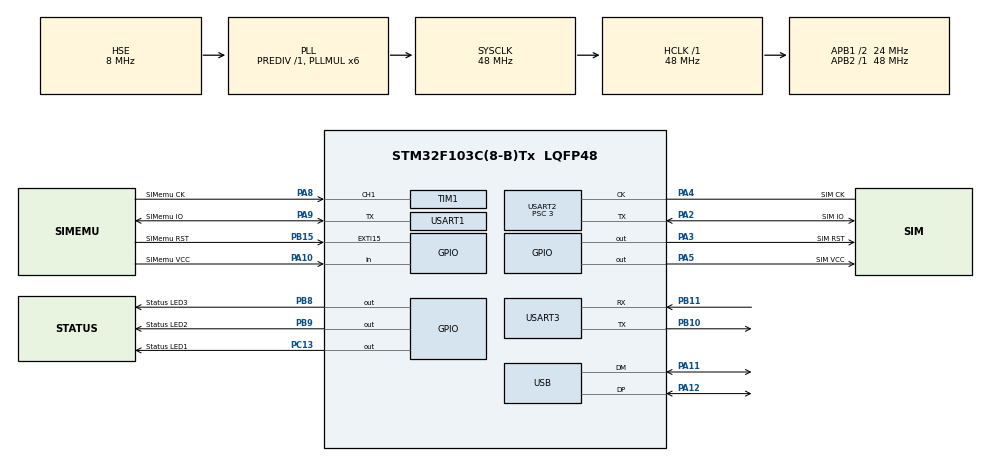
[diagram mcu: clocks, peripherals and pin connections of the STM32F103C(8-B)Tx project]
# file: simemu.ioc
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Mcu.Family=STM32F1
USB_DEVICE.CLASS_NAME_FS=CDC
PB10.Mode=Asynchronous
PA11.Mode=Device
PB11.Signal=USART3_RX
PB13.Signal=USART3_CTS
PB15.Signal=GPXTI15
RCC.SYSCLKSource=RCC_SYSCLKSOURCE_PLLCLK
ProjectManager.StackSize=0x400
PD1-OSC_OUT.Signal=RCC_OSC_OUT
PA12.Signal=USB_DP
NVIC.USB_HP_CAN1_TX_IRQn=true\:3\:0\:true\:false\:true\:true\:true
TIM1.Prescaler=1
PA4.Mode=SmartCard_With_Clock
RCC.HCLKFreq_Value=48000000
RCC.APB2TimFreq_Value=48000000
RCC.AHBFreq_Value=48000000
NVIC.EXTI15_10_IRQn=true\:15\:0\:true\:false\:true\:true\:true
PB3.Mode=JTAG_5_pins
PA15.Mode=JTAG_5_pins
RCC.PLLMUL=RCC_PLL_MUL6
VP_TIM1_VS_ControllerModeClock.Mode=Clock Mode
PB4.Mode=JTAG_5_pins
PC14-OSC32_IN.Mode=LSE-External-Oscillator
PA14.Mode=JTAG_5_pins
PA10.GPIO_Label=SIMemu VCC
PA8.Signal=S_TIM1_CH1
USART2.Prescaler=3
Mcu.Package=LQFP48
PB9.Signal=GPIO_Output
USART2.VirtualMode=VM_SMARTCARD
PA2.GPIO_Label=SIM IO
PA10.Signal=GPIO_Input
PA15.Signal=SYS_JTDI
RCC.APB1TimFreq_Value=48000000
TIM1.Period=0xffff
NVIC.USART1_IRQn=true\:8\:0\:true\:false\:true\:true\:true
PA4.GPIO_Label=SIM CK
PB4.Signal=SYS_NJTRST
PA3.Signal=GPIO_Output
PC15-OSC32_OUT.Mode=LSE-External-Oscillator
USART2.VirtualClockMode=VM_SMARTCARD
PD1-OSC_OUT.Mode=HSE-External-Oscillator
PB9.GPIO_Label=Status LED2
USB_DEVICE.VirtualModeFS=Cdc_FS
PA9.GPIO_Label=SIMemu IO
PC13-TAMPER-RTC.Signal=GPIO_Output
PD0-OSC_IN.Signal=RCC_OSC_IN
RCC.APB1CLKDivider=RCC_HCLK_DIV2
PC14-OSC32_IN.Signal=RCC_OSC32_IN
NVIC.USART2_IRQn=true\:12\:0\:true\:false\:true\:true\:true
TIM1.AutoReloadPreload=TIM_AUTORELOAD_PRELOAD_DISABLE
PA13.Signal=SYS_JTMS-SWDIO
PB8.GPIO_Label=Status LED3
PA9.Mode=SmartCard
PA8.GPIO_Label=SIMemu CK
SH.S_TIM1_CH1.0=TIM1_CH1,TriggerSource_TI1FP1
PB11.Mode=Asynchronous
ProjectManager.TargetToolchain=Makefile
VP_USB_DEVICE_VS_USB_DEVICE_CDC_FS.Mode=CDC_FS
PA9.Signal=USART1_TX
RCC.USBFreq_Value=48000000
PC15-OSC32_OUT.Signal=RCC_OSC32_OUT
PD0-OSC_IN.Mode=HSE-External-Oscillator
PB10.Signal=USART3_TX
PB14.Signal=USART3_RTS
PA5.Signal=GPIO_Output
PB15.GPIO_ModeDefaultEXTI=GPIO_MODE_IT_RISING_FALLING
board=stm32
PC13-TAMPER-RTC.GPIO_Label=Status LED1
RCC.APB2Freq_Value=48000000
PB15.GPIO_Label=SIMemu RST
NVIC.USB_LP_CAN1_RX0_IRQn=true\:4\:0\:true\:false\:true\:false\:true
PA13.Mode=JTAG_5_pins
Mcu.Name=STM32F103C(8-B)Tx
PA2.Signal=USART2_TX
PB3.Signal=SYS_JTDO-TRACESWO
PA4.Signal=USART2_CK
RCC.SYSCLKFreq_VALUE=48000000
PA12.Mode=Device
PA5.GPIO_Label=SIM VCC
USART3.VirtualMode=VM_ASYNC
USART1.VirtualMode=VM_SMARTCARD
PA11.Signal=USB_DM
PA14.Signal=SYS_JTCK-SWCLK
ProjectManager.HeapSize=0x200
NVIC.PriorityGroup=NVIC_PRIORITYGROUP_4
PA2.Mode=SmartCard_With_Clock
PB8.Signal=GPIO_Output
RCC.APB1Freq_Value=24000000
USB_DEVICE.VirtualMode=Cdc
PB12.Signal=USART3_CK
PA3.GPIO_Label=SIM RST

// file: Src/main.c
/* USER CODE BEGIN Header */
/**
  ******************************************************************************
  * @file           : main.c
  * @brief          : Main program body
  ******************************************************************************
  * This notice applies to any and all portions of this file
  * that are not between comment pairs USER CODE BEGIN and
  * USER CODE END. Other portions of this file, whether
  * inserted by the user or by software development tools
  * are owned by their respective copyright owners.
  *
  * Copyright (c) 2019 STMicroelectronics International N.V.
  * All rights reserved.
  *
  * Redistribution and use in source and binary forms, with or without
  * modification, are permitted, provided that the following conditions are met:
  *
  * 1. Redistribution of source code must retain the above copyright notice,
  *    this list of conditions and the following disclaimer.
  * 2. Redistributions in binary form must reproduce the above copyright notice,
  *    this list of conditions and the following disclaimer in the documentation
  *    and/or other materials provided with the distribution.
  * 3. Neither the name of STMicroelectronics nor the names of other
  *    contributors to this software may be used to endorse or promote products
  *    derived from this software without specific written permission.
  * 4. This software, including modifications and/or derivative works of this
  *    software, must execute solely and exclusively on microcontroller or
  *    microprocessor devices manufactured by or for STMicroelectronics.
  * 5. Redistribution and use of this software other than as permitted under
  *    this license is void and will automatically terminate your rights under
  *    this license.
  *
  * THIS SOFTWARE IS PROVIDED BY STMICROELECTRONICS AND CONTRIBUTORS "AS IS"
  * AND ANY EXPRESS, IMPLIED OR STATUTORY WARRANTIES, INCLUDING, BUT NOT
  * LIMITED TO, THE IMPLIED WARRANTIES OF MERCHANTABILITY, FITNESS FOR A
  * PARTICULAR PURPOSE AND NON-INFRINGEMENT OF THIRD PARTY INTELLECTUAL PROPERTY
  * RIGHTS ARE DISCLAIMED TO THE FULLEST EXTENT PERMITTED BY LAW. IN NO EVENT
  * SHALL STMICROELECTRONICS OR CONTRIBUTORS BE LIABLE FOR ANY DIRECT, INDIRECT,
  * INCIDENTAL, SPECIAL, EXEMPLARY, OR CONSEQUENTIAL DAMAGES (INCLUDING, BUT NOT
  * LIMITED TO, PROCUREMENT OF SUBSTITUTE GOODS OR SERVICES; LOSS OF USE, DATA,
  * OR PROFITS; OR BUSINESS INTERRUPTION) HOWEVER CAUSED AND ON ANY THEORY OF
  * LIABILITY, WHETHER IN CONTRACT, STRICT LIABILITY, OR TORT (INCLUDING
  * NEGLIGENCE OR OTHERWISE) ARISING IN ANY WAY OUT OF THE USE OF THIS SOFTWARE,
  * EVEN IF ADVISED OF THE POSSIBILITY OF SUCH DAMAGE.
  *
  ******************************************************************************
  */
/* USER CODE END Header */

#include "main.h"
#include "usb_device.h"

/* USER CODE BEGIN Includes */
#include "simemu.h"
#include "simrdr.h"
#include "utils.h"

#ifdef JLINK_DEBUG
#include "RTT/SEGGER_RTT.h"
#include "RTT/SEGGER_RTT_Conf.h"
#endif

/* USER CODE END Includes */

TIM_HandleTypeDef htim1;

SMARTCARD_HandleTypeDef hsc1;
SMARTCARD_HandleTypeDef hsc2;
UART_HandleTypeDef huart3;

/* USER CODE BEGIN PV */
/* Private variables ---------------------------------------------------------*/

/* USER CODE END PV */

void SystemClock_Config(void);
static void MX_GPIO_Init(void);
static void MX_USART2_SMARTCARD_Init(void);
static void MX_TIM1_Init(void);
static void MX_USART1_SMARTCARD_Init(void);
static void MX_USART3_UART_Init(void);
/* USER CODE BEGIN PFP */
/* Private function prototypes -----------------------------------------------*/

/* USER CODE END PFP */

int main(void)
{

  /* MCU Configuration--------------------------------------------------------*/

  /* Reset of all peripherals, Initializes the Flash interface and the Systick. */
  HAL_Init();

  /* Configure the system clock */
  SystemClock_Config();

  /* USER CODE BEGIN SysInit */

#ifdef JLINK_DEBUG
  SEGGER_RTT_Init();
#endif

  simemu_init(&hsc1);
  simrdr_init(&hsc2);

  /* USER CODE END SysInit */

  /* Initialize all configured peripherals */
  MX_GPIO_Init();
  MX_USB_DEVICE_Init();
  MX_USART2_SMARTCARD_Init();
  MX_TIM1_Init();
  MX_USART1_SMARTCARD_Init();
  MX_USART3_UART_Init();
  /* USER CODE BEGIN 2 */
  HAL_TIM_Base_Start(&htim1);

  /* USER CODE END 2 */

  /* Infinite loop */
  /* USER CODE BEGIN WHILE */
  while (1) {
    simemu_run();
    simrdr_run();
    /* USER CODE END WHILE */

  }
}

void SystemClock_Config(void)
{
  RCC_OscInitTypeDef RCC_OscInitStruct = {0};
  RCC_ClkInitTypeDef RCC_ClkInitStruct = {0};
  RCC_PeriphCLKInitTypeDef PeriphClkInit = {0};

  /** Initializes the CPU, AHB and APB busses clocks
  */
  RCC_OscInitStruct.OscillatorType = RCC_OSCILLATORTYPE_HSE;
  RCC_OscInitStruct.HSEState = RCC_HSE_ON;
  RCC_OscInitStruct.HSEPredivValue = RCC_HSE_PREDIV_DIV1;
  RCC_OscInitStruct.HSIState = RCC_HSI_ON;
  RCC_OscInitStruct.PLL.PLLState = RCC_PLL_ON;
  RCC_OscInitStruct.PLL.PLLSource = RCC_PLLSOURCE_HSE;
  RCC_OscInitStruct.PLL.PLLMUL = RCC_PLL_MUL6;
  if (HAL_RCC_OscConfig(&RCC_OscInitStruct) != HAL_OK)
  {
    Error_Handler();
  }
  /** Initializes the CPU, AHB and APB busses clocks
  */
  RCC_ClkInitStruct.ClockType = RCC_CLOCKTYPE_HCLK|RCC_CLOCKTYPE_SYSCLK
                              |RCC_CLOCKTYPE_PCLK1|RCC_CLOCKTYPE_PCLK2;
  RCC_ClkInitStruct.SYSCLKSource = RCC_SYSCLKSOURCE_PLLCLK;
  RCC_ClkInitStruct.AHBCLKDivider = RCC_SYSCLK_DIV1;
  RCC_ClkInitStruct.APB1CLKDivider = RCC_HCLK_DIV2;
  RCC_ClkInitStruct.APB2CLKDivider = RCC_HCLK_DIV1;

  if (HAL_RCC_ClockConfig(&RCC_ClkInitStruct, FLASH_LATENCY_1) != HAL_OK)
  {
    Error_Handler();
  }
  PeriphClkInit.PeriphClockSelection = RCC_PERIPHCLK_USB;
  PeriphClkInit.UsbClockSelection = RCC_USBCLKSOURCE_PLL;
  if (HAL_RCCEx_PeriphCLKConfig(&PeriphClkInit) != HAL_OK)
  {
    Error_Handler();
  }
}

static void MX_TIM1_Init(void)
{

  TIM_SlaveConfigTypeDef sSlaveConfig = {0};
  TIM_MasterConfigTypeDef sMasterConfig = {0};

  htim1.Instance = TIM1;
  htim1.Init.Prescaler = 1;
  htim1.Init.CounterMode = TIM_COUNTERMODE_UP;
  htim1.Init.Period = 0xffff;
  htim1.Init.ClockDivision = TIM_CLOCKDIVISION_DIV1;
  htim1.Init.RepetitionCounter = 0;
  htim1.Init.AutoReloadPreload = TIM_AUTORELOAD_PRELOAD_DISABLE;
  if (HAL_TIM_Base_Init(&htim1) != HAL_OK)
  {
    Error_Handler();
  }
  sSlaveConfig.SlaveMode = TIM_SLAVEMODE_EXTERNAL1;
  sSlaveConfig.InputTrigger = TIM_TS_TI1FP1;
  sSlaveConfig.TriggerPolarity = TIM_TRIGGERPOLARITY_RISING;
  sSlaveConfig.TriggerFilter = 0;
  if (HAL_TIM_SlaveConfigSynchro(&htim1, &sSlaveConfig) != HAL_OK)
  {
    Error_Handler();
  }
  sMasterConfig.MasterOutputTrigger = TIM_TRGO_RESET;
  sMasterConfig.MasterSlaveMode = TIM_MASTERSLAVEMODE_DISABLE;
  if (HAL_TIMEx_MasterConfigSynchronization(&htim1, &sMasterConfig) != HAL_OK)
  {
    Error_Handler();
  }

}

static void MX_USART1_SMARTCARD_Init(void)
{

  hsc1.Instance = USART1;
  hsc1.Init.BaudRate = 115200;
  hsc1.Init.WordLength = SMARTCARD_WORDLENGTH_9B;
  hsc1.Init.StopBits = SMARTCARD_STOPBITS_1_5;
  hsc1.Init.Parity = SMARTCARD_PARITY_EVEN;
  hsc1.Init.Mode = SMARTCARD_MODE_TX_RX;
  hsc1.Init.GuardTime = 0;
  hsc1.Init.NACKState = SMARTCARD_NACK_DISABLE;
  if (HAL_SMARTCARD_Init(&hsc1) != HAL_OK)
  {
    Error_Handler();
  }

}

static void MX_USART2_SMARTCARD_Init(void)
{

  hsc2.Instance = USART2;
  hsc2.Init.BaudRate = 115200;
  hsc2.Init.WordLength = SMARTCARD_WORDLENGTH_9B;
  hsc2.Init.StopBits = SMARTCARD_STOPBITS_1_5;
  hsc2.Init.Parity = SMARTCARD_PARITY_EVEN;
  hsc2.Init.Mode = SMARTCARD_MODE_TX_RX;
  hsc2.Init.CLKPolarity = SMARTCARD_POLARITY_LOW;
  hsc2.Init.CLKPhase = SMARTCARD_PHASE_1EDGE;
  hsc2.Init.CLKLastBit = SMARTCARD_LASTBIT_DISABLE;
  hsc2.Init.Prescaler = 3;
  hsc2.Init.GuardTime = 0;
  hsc2.Init.NACKState = SMARTCARD_NACK_DISABLE;
  if (HAL_SMARTCARD_Init(&hsc2) != HAL_OK)
  {
    Error_Handler();
  }

}

static void MX_USART3_UART_Init(void)
{

  huart3.Instance = USART3;
  huart3.Init.BaudRate = 115200;
  huart3.Init.WordLength = UART_WORDLENGTH_8B;
  huart3.Init.StopBits = UART_STOPBITS_1;
  huart3.Init.Parity = UART_PARITY_NONE;
  huart3.Init.Mode = UART_MODE_TX_RX;
  huart3.Init.HwFlowCtl = UART_HWCONTROL_NONE;
  huart3.Init.OverSampling = UART_OVERSAMPLING_16;
  if (HAL_UART_Init(&huart3) != HAL_OK)
  {
    Error_Handler();
  }

}

static void MX_GPIO_Init(void)
{
  GPIO_InitTypeDef GPIO_InitStruct = {0};

  /* GPIO Ports Clock Enable */
  __HAL_RCC_GPIOC_CLK_ENABLE();
  __HAL_RCC_GPIOD_CLK_ENABLE();
  __HAL_RCC_GPIOA_CLK_ENABLE();
  __HAL_RCC_GPIOB_CLK_ENABLE();

  /*Configure GPIO pin Output Level */
  HAL_GPIO_WritePin(Status_LED1_GPIO_Port, Status_LED1_Pin, GPIO_PIN_RESET);

  /*Configure GPIO pin Output Level */
  HAL_GPIO_WritePin(GPIOA, SIM_RST_Pin|SIM_VCC_Pin, GPIO_PIN_RESET);

  /*Configure GPIO pin Output Level */
  HAL_GPIO_WritePin(GPIOB, Status_LED3_Pin|Status_LED2_Pin, GPIO_PIN_RESET);

  /*Configure GPIO pin : Status_LED1_Pin */
  GPIO_InitStruct.Pin = Status_LED1_Pin;
  GPIO_InitStruct.Mode = GPIO_MODE_OUTPUT_PP;
  GPIO_InitStruct.Pull = GPIO_NOPULL;
  GPIO_InitStruct.Speed = GPIO_SPEED_FREQ_LOW;
  HAL_GPIO_Init(Status_LED1_GPIO_Port, &GPIO_InitStruct);

  /*Configure GPIO pins : SIM_RST_Pin SIM_VCC_Pin */
  GPIO_InitStruct.Pin = SIM_RST_Pin|SIM_VCC_Pin;
  GPIO_InitStruct.Mode = GPIO_MODE_OUTPUT_PP;
  GPIO_InitStruct.Pull = GPIO_NOPULL;
  GPIO_InitStruct.Speed = GPIO_SPEED_FREQ_LOW;
  HAL_GPIO_Init(GPIOA, &GPIO_InitStruct);

  /*Configure GPIO pin : SIMemu_RST_Pin */
  GPIO_InitStruct.Pin = SIMemu_RST_Pin;
  GPIO_InitStruct.Mode = GPIO_MODE_IT_RISING_FALLING;
  GPIO_InitStruct.Pull = GPIO_NOPULL;
  HAL_GPIO_Init(SIMemu_RST_GPIO_Port, &GPIO_InitStruct);

  /*Configure GPIO pin : SIMemu_VCC_Pin */
  GPIO_InitStruct.Pin = SIMemu_VCC_Pin;
  GPIO_InitStruct.Mode = GPIO_MODE_INPUT;
  GPIO_InitStruct.Pull = GPIO_NOPULL;
  HAL_GPIO_Init(SIMemu_VCC_GPIO_Port, &GPIO_InitStruct);

  /*Configure GPIO pins : Status_LED3_Pin Status_LED2_Pin */
  GPIO_InitStruct.Pin = Status_LED3_Pin|Status_LED2_Pin;
  GPIO_InitStruct.Mode = GPIO_MODE_OUTPUT_PP;
  GPIO_InitStruct.Pull = GPIO_NOPULL;
  GPIO_InitStruct.Speed = GPIO_SPEED_FREQ_LOW;
  HAL_GPIO_Init(GPIOB, &GPIO_InitStruct);

  /* EXTI interrupt init*/
  HAL_NVIC_SetPriority(EXTI15_10_IRQn, 15, 0);
  HAL_NVIC_EnableIRQ(EXTI15_10_IRQn);

}

/* USER CODE BEGIN 4 */

void HAL_SMARTCARD_TxCpltCallback(SMARTCARD_HandleTypeDef *hsc) {
  if (hsc == &hsc1) {
    simemu_on_tx();
  } else if (hsc == &hsc2) {
    simrdr_on_tx();
  }
}

void HAL_SMARTCARD_RxCpltCallback(SMARTCARD_HandleTypeDef *hsc) {
  if (hsc == &hsc1) {
    simemu_on_rx();
  } else if (hsc == &hsc2) {
    simrdr_on_rx();
  }
}

void HAL_SMARTCARD_ErrorCallback(SMARTCARD_HandleTypeDef *hsc) {
  if (hsc == &hsc1) {
    simemu_on_trx_error();
  } else if (hsc == &hsc2) {
    simrdr_on_trx_error();
  }
}

void CDC_Receive_Line(char *line) {
  simemu_on_cmdline(line);
  simrdr_on_cmdline(line);
}

/* USER CODE END 4 */

void Error_Handler(void)
{
  while(1)
  {
  }
}

/************************ (C) COPYRIGHT STMicroelectronics *****END OF FILE****/
